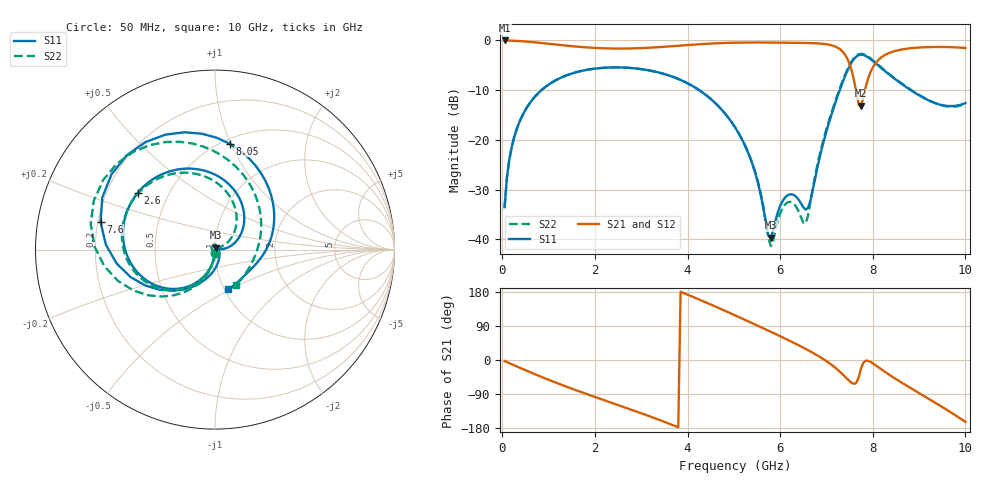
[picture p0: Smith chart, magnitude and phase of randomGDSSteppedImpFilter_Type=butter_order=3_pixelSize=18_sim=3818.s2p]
! freq	dB(S11)	phase(S11)	dB(S12)	phase(S12)
!  dB(S21)	phase(S21)	dB(S22)	phase(S22)
!S-par simulation data
#  GHz  S  DB  R 50
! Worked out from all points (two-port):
!   200 points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, 50 MHz to 10 GHz, reference 50 ohm
!   highest |S21| = -0.01 dB at 50 MHz (marker M1); lowest = -13.1 dB at 7.75 GHz (marker M2)
!   |S21| within 3 dB of the highest: start of sweep to 7.41 GHz; 8.249 GHz to end of sweep
!   lowest |S11| = -39.7 dB at 5.8 GHz (marker M3), VSWR 1.02, Z = 50.3 + j1 ohm
!   |S11| at or under -10 dB: start of sweep to 846.6 MHz; 4.252 GHz to 7.286 GHz (3.034 GHz wide, 52.6 % of centre); 8.821 GHz to end of sweep
!   |S22| runs from -41.4 to -2.7 dB; largest |S21 - S12| = 0
!   S11 on the Smith chart (normalised r, x): 50 MHz: 1.00, -0.04; 2.6 GHz: 0.33, +0.29; 7.6 GHz: 0.21, +0.11; 8.05 GHz: 0.54, +0.99; 10 GHz: 1.04, -0.49
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0.05  -33.57 -92.8  -0.01 -2.8  -0.01 -2.8  -33.56 -92.7
0.2  -21.60 -101.5  -0.05 -10.9  -0.05 -10.9  -21.59 -101.1
0.5  -13.97 -118.0  -0.21 -27.0  -0.21 -27.0  -13.97 -117.0
1.1  -8.29 -148.7  -0.77 -57.1  -0.77 -57.1  -8.29 -146.6
1.75  -6.05 -179.0  -1.36 -86.7  -1.36 -86.7  -6.05 -175.5
2.6  -5.45 143.7  -1.64 -123.1  -1.64 -123.1  -5.45 149.3
3.4  -6.50 107.3  -1.34 -158.5  -1.34 -158.5  -6.50 115.5
4.25  -9.99 64.6  -0.77 159.7  -0.77 159.7  -9.98 76.4
5.05  -17.84 21.8  -0.44 116.6  -0.44 116.6  -17.81 39.0
5.45  -26.30 5.0  -0.41 94.2  -0.41 94.2  -26.12 25.6
5.8  -39.66 73.0  -0.43 74.4  -0.43 74.4  -41.39 91.0
6.15  -31.22 104.1  -0.46 54.0  -0.46 54.0  -32.63 151.0
6.55  -34.04 28.7  -0.51 29.4  -0.51 29.4  -36.83 -153.4
6.7  -30.25 -37.1  -0.55 19.4  -0.55 19.4  -30.00 -106.4
7.05  -16.67 -101.3  -0.85 -7.3  -0.85 -7.3  -16.23 -108.8
7.35  -8.39 -144.0  -2.26 -37.8  -2.26 -37.8  -8.11 -138.3
7.6  -3.66 166.5  -8.26 -63.0  -8.26 -63.0  -3.46 178.5
7.75  -2.86 133.1  -13.15 -21.5  -13.15 -21.5  -2.69 148.1
8.05  -4.50 82.2  -4.70 -12.9  -4.70 -12.9  -4.37 102.0
8.35  -6.83 49.1  -2.54 -38.4  -2.54 -38.4  -6.72 72.7
9.15  -11.81 -11.6  -1.36 -98.2  -1.36 -98.2  -11.75 13.9
10  -12.61 -71.5  -1.52 -163.3  -1.52 -163.3  -12.75 -59.3
